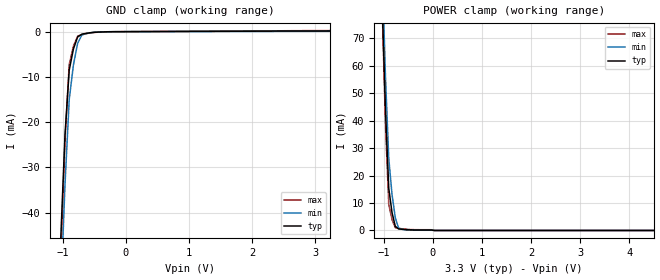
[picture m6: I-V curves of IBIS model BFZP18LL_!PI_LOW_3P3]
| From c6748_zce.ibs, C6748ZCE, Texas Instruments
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|   Model Cell BFZP18LL_!PI_LOW_3P3
|IC1833DVTPBFZP18LL_!PI_LOW_3P3
[Model]   BFZP18LL_!PI_LOW_3P3
Model_type   Input
Polarity   Non-Inverting
Vinl =  0.8V
Vinh =  2V
C_comp   1.012258p   0.8890016p   1.091755p
[Model Spec]
Vinl   0.8V   0.8V   0.8V
Vinh   2V   2V   2V
[Temperature Range]   25   125   -40
[Voltage Range]   3.3   2.97   3.63
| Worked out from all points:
|   GND clamp passes 1 mA (typ) near -0.75 V on its own axis
|   POWER clamp passes 1 mA (typ) near -0.73 V on its own axis
[POWER_clamp]
|   voltage   I(typ)   I(min)   I(max)
-3.3V     2.37A      2.826A     2.542A
-1.033V   82.55mA    94.89mA    80.63mA
-966.7mV  43.74mA    56mA       38.48mA
-900mV    15.37mA    26.34mA    9.446mA
-833.3mV  6.478mA    13.09mA    3.923mA
-766.7mV  1.541mA    4.609mA    1.023mA
-700mV    561.3uA    908.1uA    746uA
-500mV    250.8uA    144uA      374.7uA
-33.33mV  156.6uA    79.82uA    267.8uA
33.33mV   0A         0A         0A
6.6V      0A         0A         0A
[GND_clamp]
|   voltage   I(typ)   I(min)   I(max)
-3.3V     -1.792A    -1.668A    -2.631A
-1.033V   -45.54mA   -57.75mA   -50.28mA
-966.7mV  -22.83mA   -33.83mA   -24.05mA
-900mV    -8.523mA   -15.06mA   -7.278mA
-833.3mV  -3.829mA   -7.372mA   -3.202mA
-766.7mV  -1.175mA   -2.601mA   -991.4uA
-700mV    -560.3uA   -746.6uA   -646.9uA
-566.7mV  -249.1uA   -234.1uA   -286.4uA
-300mV    -29.03uA   -23.37uA   -39.39uA
3.233V    153.5uA    84.96uA    245.7uA
